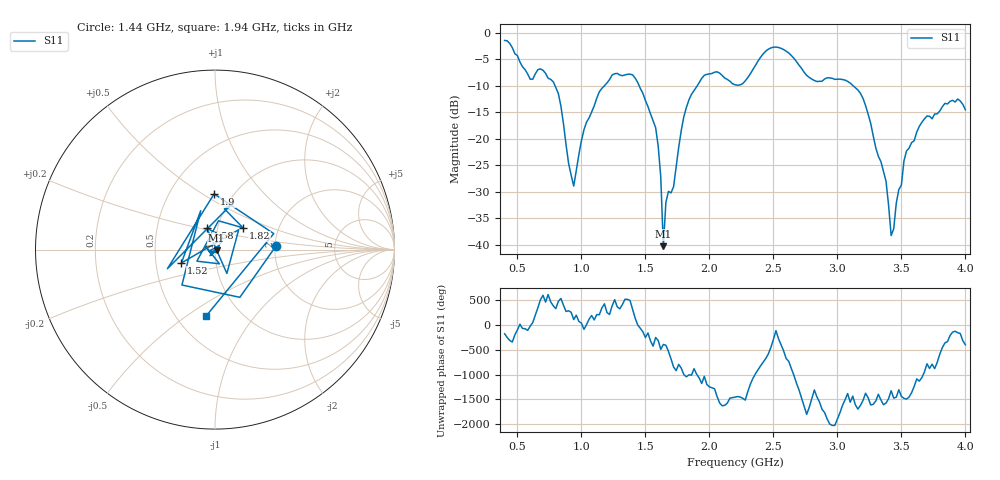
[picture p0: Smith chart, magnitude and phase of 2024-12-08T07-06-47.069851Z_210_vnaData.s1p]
!Created with skrf (http://scikit-rf.org).
# Hz S RI R 50.0
!freq ReS11 ImS11
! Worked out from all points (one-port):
!   181 points, 400 MHz to 4 GHz, reference 50 ohm
!   lowest |S11| = -40.2 dB at 1.64 GHz (marker M1), VSWR 1.02, Z = 50.8 - j0.495 ohm
!   |S11| at or under -10 dB: 794.5 MHz to 1.179 GHz (384.1 MHz wide, 38.9 % of centre); 1.452 GHz to 1.904 GHz (452.7 MHz wide, 27 % of centre); 3.125 GHz to end of sweep
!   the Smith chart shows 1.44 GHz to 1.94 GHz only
!   S11 on the Smith chart (normalised r, x): 1.44 GHz: 2.03, +0.10; 1.52 GHz: 0.68, -0.11; 1.58 GHz: 0.89, +0.22; 1.82 GHz: 1.32, +0.33; 1.9 GHz: 0.82, +0.56; 1.94 GHz: 0.70, -0.60
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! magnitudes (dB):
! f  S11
! 400 MHz  -1.4
! 600 MHz  -8.7
! 780 MHz  -9.2
! 860 MHz  -17.2
! 940 MHz  -28.9
! 1.04 GHz  -16.8
! 1.3 GHz  -7.9
! 1.44 GHz  -9.3
! 1.52 GHz  -13.9
! 1.58 GHz  -17.9
! 1.62 GHz  -27.2
! 1.64 GHz  -40.2
! 1.66 GHz  -32.0
! 1.72 GHz  -29.0
! 1.76 GHz  -21.6
! 1.82 GHz  -14.1
! 1.9 GHz  -10.2
! 1.94 GHz  -8.6
! 2.2 GHz  -9.8
! 2.48 GHz  -2.8
! 2.66 GHz  -4.8
! 3.1 GHz  -9.5
! 3.26 GHz  -17.0
! 3.38 GHz  -28.0
! 3.42 GHz  -38.2
! 3.56 GHz  -21.7
! 3.84 GHz  -13.3
! 4 GHz  -14.5
